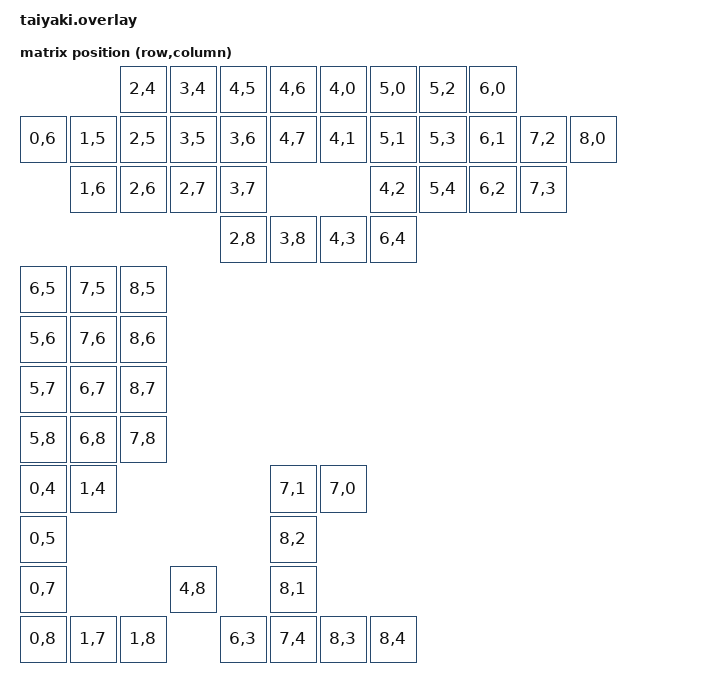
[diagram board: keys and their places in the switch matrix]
#include <dt-bindings/zmk/matrix_transform.h>


/ {
    chosen {
        zmk,kscan = &kscan0;
        zmk,matrix_transform = &default_transform;
    };

    kscan0: kscan_0 {
        compatible = "zmk,kscan-gpio-charlieplex";
 
        //interrupt-gpios = <&gpio1 11 (GPIO_ACTIVE_HIGH | GPIO_PULL_DOWN)>;
        gpios = <&gpio0 2  (GPIO_ACTIVE_HIGH)>
              , <&gpio0 3  (GPIO_ACTIVE_HIGH)>
              , <&gpio0 28 (GPIO_ACTIVE_HIGH)>
              , <&gpio0 29 (GPIO_ACTIVE_HIGH)>
              , <&gpio1 12 (GPIO_ACTIVE_HIGH)>
              , <&gpio1 13 (GPIO_ACTIVE_HIGH)>
              , <&gpio1 14 (GPIO_ACTIVE_HIGH)>
              , <&gpio1 15 (GPIO_ACTIVE_HIGH)>
              , <&gpio0 9  (GPIO_ACTIVE_HIGH)>
            ;
    };

    default_transform: keymap_transform_0 {
      compatible = "zmk,matrix-transform";
      columns = <9>;
      rows = <9>;

      //04   13  22 31 41 42      36 45 47 54 65  64    59 68 77
      //05 06 14 23 32 33 43      37 46 48 55 66 72 74  51 69 78
      //07    15 24 25 34     44     38 49 56 67 73     52 61 79 
      //08   16   17  26   35    39  58    57 67 75 76  53 62 71
      map = <
                  RC(2,4) RC(3,4) RC(4,5) RC(4,6)      RC(4,0) RC(5,0) RC(5,2) RC(6,0)      
  RC(0,6) RC(1,5) RC(2,5) RC(3,5) RC(3,6) RC(4,7)      RC(4,1) RC(5,1) RC(5,3) RC(6,1) RC(7,2) RC(8,0) 
          RC(1,6) RC(2,6) RC(2,7) RC(3,7)                      RC(4,2) RC(5,4) RC(6,2) RC(7,3)        
                                  RC(2,8) RC(3,8)      RC(4,3) RC(6,4)
  RC(6,5) RC(7,5) RC(8,5)
  RC(5,6) RC(7,6) RC(8,6)
  RC(5,7) RC(6,7) RC(8,7)
  RC(5,8) RC(6,8) RC(7,8)

RC(0,4) RC(1,4)                         RC(7,1) RC(7,0)
RC(0,5)                                         RC(8,2)
RC(0,7)                 RC(4,8)         RC(8,1)
RC(0,8) RC(1,7) RC(1,8)         RC(6,3) RC(7,4) RC(8,3) RC(8,4)
        >;
    };
};
